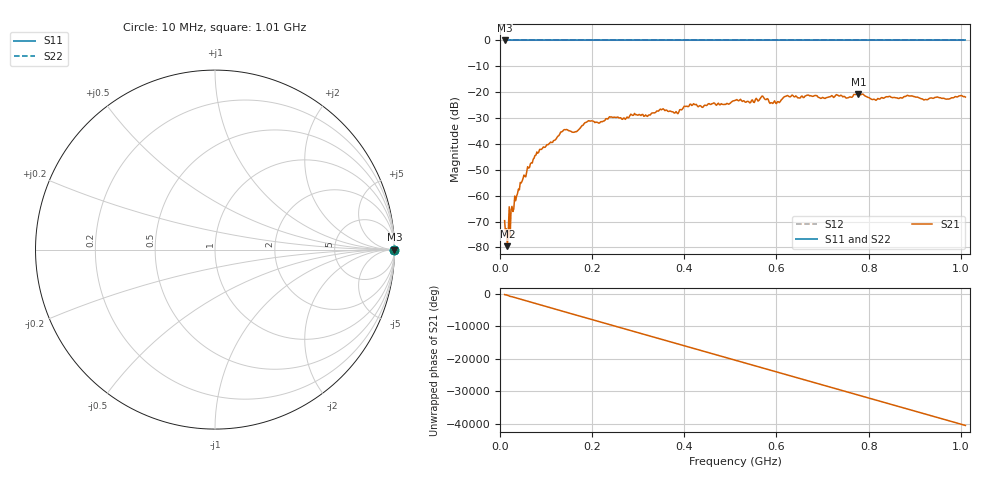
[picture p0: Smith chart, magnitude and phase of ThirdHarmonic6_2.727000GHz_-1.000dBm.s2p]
! 8/17/2025 6:41:11 AM
! C:\ANRITSUVNA\TEMP\TEMP.S2P
! CHANNEL.1
! TR.MEASUREMENT
! RAW.DATA
! RF.CORRECTION.OFF
! AVERAGING.OFF
! IF.BANDWIDTH: 5KHZ
! SWEEPTYPE:  FREQ.SWEEP(Linear)
! Reference Plane Port Info
! PORT:  PORT1  PORT2
! DISTANCE:  0  m  0  m
! TIME:  0  s  0  s
! PHASE.OFFSET:  0  deg.  0  deg.
! LOSS:  0  dB  0  dB
! REF.LOSS:  0  dB  0  dB
! REF.FREQ:  0  Hz  0  Hz
! Power Info
! POWER:  -20  dBm  -20  dBm
! EFF.POWER:  -20  dBm  -20  dBm
! SOURCE.ATTEN:  0  dB  0  dB
! TEST.ATTEN:  0  dB  0  dB
# GHZ S RI R 50.0
! FREQ.GHZ  S11RE  S11IM  S21RE  S21IM  S12RE  S12IM  S22RE  S22IM
!; PortSelection: Port_12
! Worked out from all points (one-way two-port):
!   501 points, 10 MHz to 1.01 GHz, reference 50 ohm
!   highest |S21| = -20.67 dB at 778 MHz (marker M1); lowest = -79.5 dB at 16 MHz (marker M2)
!   lowest |S11| = 0.0 dB at 10 MHz (marker M3)
!   |S11| at or under -10 dB: nowhere
!   |S22| runs from 0.0 to 0.0 dB; largest |S21 - S12| = 1.1
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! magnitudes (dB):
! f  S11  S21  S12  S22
! 10 MHz  0.0  -69.7  0.0  0.0
! 14 MHz  0.0  -72.8  0.0  0.0
! 16 MHz  0.0  -79.5  0.0  0.0
! 18 MHz  0.0  -73.4  0.0  0.0
! 28 MHz  0.0  -66.1  0.0  0.0
! 48 MHz  0.0  -54.4  0.0  0.0
! 76 MHz  0.0  -44.4  0.0  0.0
! 136 MHz  0.0  -35.1  0.0  0.0
! 162 MHz  0.0  -35.4  0.0  0.0
! 178 MHz  0.0  -32.9  0.0  0.0
! 344 MHz  0.0  -27.3  0.0  0.0
! 382 MHz  0.0  -27.5  0.0  0.0
! 416 MHz  0.0  -25.1  0.0  0.0
! 510 MHz  0.0  -23.2  0.0  0.0
! 570 MHz  0.0  -21.5  0.0  0.0
! 590 MHz  0.0  -24.1  0.0  0.0
! 622 MHz  0.0  -21.5  0.0  0.0
! 678 MHz  0.0  -21.6  0.0  0.0
! 778 MHz  0.0  -20.7  0.0  0.0
! 812 MHz  0.0  -22.7  0.0  0.0
! 844 MHz  0.0  -21.7  0.0  0.0
! 1.01 GHz  0.0  -21.9  0.0  0.0
